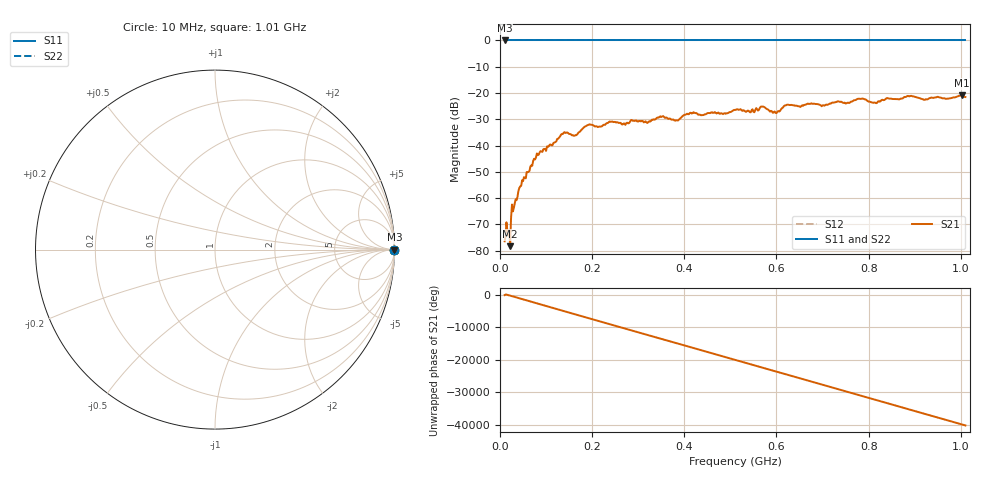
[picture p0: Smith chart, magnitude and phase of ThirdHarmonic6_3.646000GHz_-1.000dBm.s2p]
! 8/17/2025 12:15:54 PM
! C:\ANRITSUVNA\TEMP\TEMP.S2P
! CHANNEL.1
! TR.MEASUREMENT
! RAW.DATA
! RF.CORRECTION.OFF
! AVERAGING.OFF
! IF.BANDWIDTH: 5KHZ
! SWEEPTYPE:  FREQ.SWEEP(Linear)
! Reference Plane Port Info
! PORT:  PORT1  PORT2
! DISTANCE:  0  m  0  m
! TIME:  0  s  0  s
! PHASE.OFFSET:  0  deg.  0  deg.
! LOSS:  0  dB  0  dB
! REF.LOSS:  0  dB  0  dB
! REF.FREQ:  0  Hz  0  Hz
! Power Info
! POWER:  -20  dBm  -20  dBm
! EFF.POWER:  -20  dBm  -20  dBm
! SOURCE.ATTEN:  0  dB  0  dB
! TEST.ATTEN:  0  dB  0  dB
# GHZ S RI R 50.0
! FREQ.GHZ  S11RE  S11IM  S21RE  S21IM  S12RE  S12IM  S22RE  S22IM
!; PortSelection: Port_12
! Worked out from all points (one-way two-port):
!   501 points, 10 MHz to 1.01 GHz, reference 50 ohm
!   highest |S21| = -20.84 dB at 1.002 GHz (marker M1); lowest = -78.3 dB at 22 MHz (marker M2)
!   lowest |S11| = 0.0 dB at 10 MHz (marker M3)
!   |S11| at or under -10 dB: nowhere
!   |S22| runs from 0.0 to 0.0 dB; largest |S21 - S12| = 1.1
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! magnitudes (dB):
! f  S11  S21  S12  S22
! 10 MHz  0.0  -76.5  0.0  0.0
! 20 MHz  0.0  -72.3  0.0  0.0
! 22 MHz  0.0  -78.3  0.0  0.0
! 30 MHz  0.0  -63.8  0.0  0.0
! 44 MHz  0.0  -55.5  0.0  0.0
! 76 MHz  0.0  -45.3  0.0  0.0
! 136 MHz  0.0  -35.7  0.0  0.0
! 164 MHz  0.0  -36.0  0.0  0.0
! 178 MHz  0.0  -33.8  0.0  0.0
! 194 MHz  0.0  -32.0  0.0  0.0
! 322 MHz  0.0  -31.0  0.0  0.0
! 344 MHz  0.0  -29.4  0.0  0.0
! 382 MHz  0.0  -30.4  0.0  0.0
! 416 MHz  0.0  -27.8  0.0  0.0
! 510 MHz  0.0  -26.4  0.0  0.0
! 570 MHz  0.0  -25.1  0.0  0.0
! 596 MHz  0.0  -27.0  0.0  0.0
! 622 MHz  0.0  -24.5  0.0  0.0
! 678 MHz  0.0  -24.1  0.0  0.0
! 844 MHz  0.0  -22.1  0.0  0.0
! 1.002 GHz  0.0  -20.8  0.0  0.0
! 1.01 GHz  0.0  -21.5  0.0  0.0
